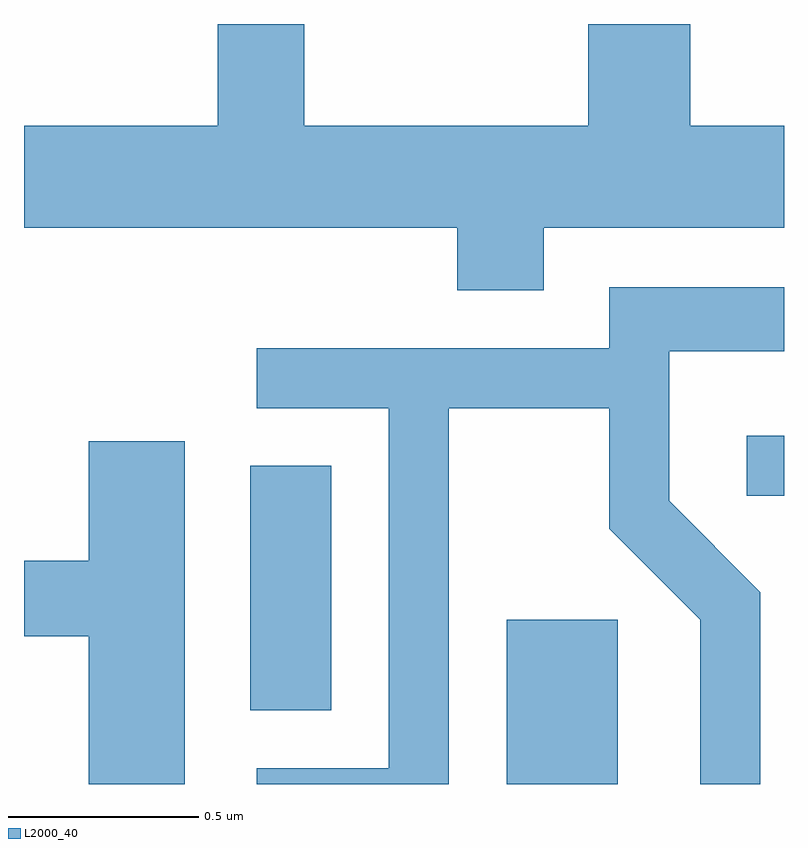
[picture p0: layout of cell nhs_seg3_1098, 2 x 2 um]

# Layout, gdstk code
import gdstk
lib = gdstk.Library(unit=1e-6, precision=1e-09)
def R(c, l, rs):  # rectangles x0, y0, x1, y1
    for r in rs: c.add(gdstk.rectangle(r[:2], r[2:], *l))
def P(c, l, *ps):  # polygons
    for p in ps: c.add(gdstk.Polygon(p, *l))
L2000_40 = (2000, 40)

nhs_seg3_1098 = lib.new_cell('nhs_seg3_1098')
R(nhs_seg3_1098, L2000_40, [(194.881,1117.892,195.174,1118.324), (194.206,1118.086,194.419,1118.729), (195.513,1118.651,195.611,1118.809)])
P(nhs_seg3_1098, L2000_40, [(194.979,1119.356),(195.611,1119.356),(195.611,1119.624),(195.364,1119.624),(195.364,1119.892),(195.096,1119.892),(195.096,1119.624),(194.349,1119.624),(194.349,1119.892),(194.121,1119.892),(194.121,1119.624),(193.611,1119.624),(193.611,1119.356),(194.751,1119.356),(194.751,1119.191),(194.979,1119.191)],
  [(194.729,1118.881),(195.151,1118.881),(195.151,1118.564),(195.391,1118.324),(195.391,1117.892),(195.549,1117.892),(195.549,1118.397),(195.309,1118.637),(195.309,1119.031),(195.611,1119.031),(195.611,1119.199),(195.151,1119.199),(195.151,1119.039),(194.223,1119.039),(194.223,1118.881),(194.571,1118.881),(194.571,1117.934),(194.223,1117.934),(194.223,1117.892),(194.729,1117.892)],
  [(194.034,1118.794),(193.781,1118.794),(193.781,1118.479),(193.611,1118.479),(193.611,1118.281),(193.781,1118.281),(193.781,1117.892),(194.034,1117.892)])

lib.write_gds('nhs_seg3_1098.gds')
